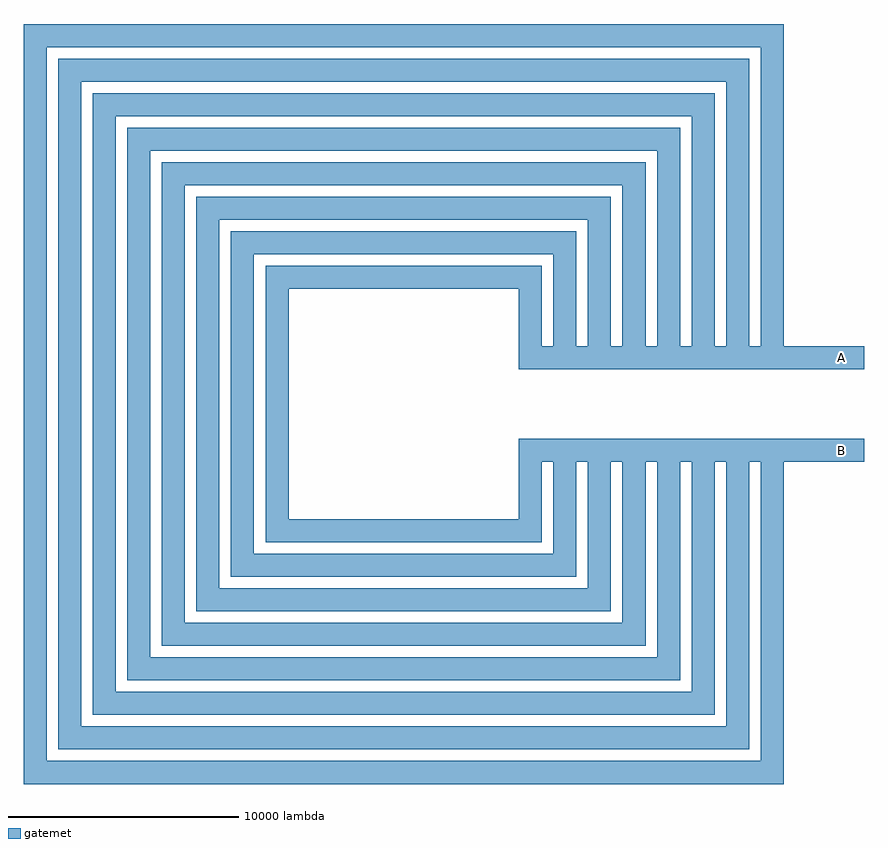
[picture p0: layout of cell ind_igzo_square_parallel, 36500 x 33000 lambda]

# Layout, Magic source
magic
tech igzo_mmm_lab
<< gatemet >>
rect -16500 15500 16500 16500
rect -16500 -15500 -15500 15500
rect -15000 14000 15000 15000
rect -15000 -14000 -14000 14000
rect -13500 12500 13500 13500
rect -13500 -12500 -12500 12500
rect -12000 11000 12000 12000
rect -12000 -11000 -11000 11000
rect -10500 9500 10500 10500
rect -10500 -9500 -9500 9500
rect -9000 8000 9000 9000
rect -9000 -8000 -8000 8000
rect -7500 6500 7500 7500
rect -7500 -6500 -6500 6500
rect -6000 5000 6000 6000
rect -6000 -5000 -5000 5000
rect 5000 2500 6000 5000
rect 6500 2500 7500 6500
rect 8000 2500 9000 8000
rect 9500 2500 10500 9500
rect 11000 2500 12000 11000
rect 12500 2500 13500 12500
rect 14000 2500 15000 14000
rect 15500 2500 16500 15500
rect 5000 1500 20000 2500
rect 5000 -2500 20000 -1500
rect 5000 -5000 6000 -2500
rect -6000 -6000 6000 -5000
rect 6500 -6500 7500 -2500
rect -7500 -7500 7500 -6500
rect 8000 -8000 9000 -2500
rect -9000 -9000 9000 -8000
rect 9500 -9500 10500 -2500
rect -10500 -10500 10500 -9500
rect 11000 -11000 12000 -2500
rect -12000 -12000 12000 -11000
rect 12500 -12500 13500 -2500
rect -13500 -13500 13500 -12500
rect 14000 -14000 15000 -2500
rect -15000 -15000 15000 -14000
rect 15500 -15500 16500 -2500
rect -16500 -16500 16500 -15500
<< labels >>
rlabel gatemet s 18500 1500 19500 2500 4 A
port 3 nsew
rlabel gatemet s 18500 -2500 19500 -1500 4 B
port 5 nsew
rlabel text s 0 -20500 0 -20500 4 ind_igzo 129.6pH / 5.002Ohm @ 100MHz / Q 0.02
<< end >>
